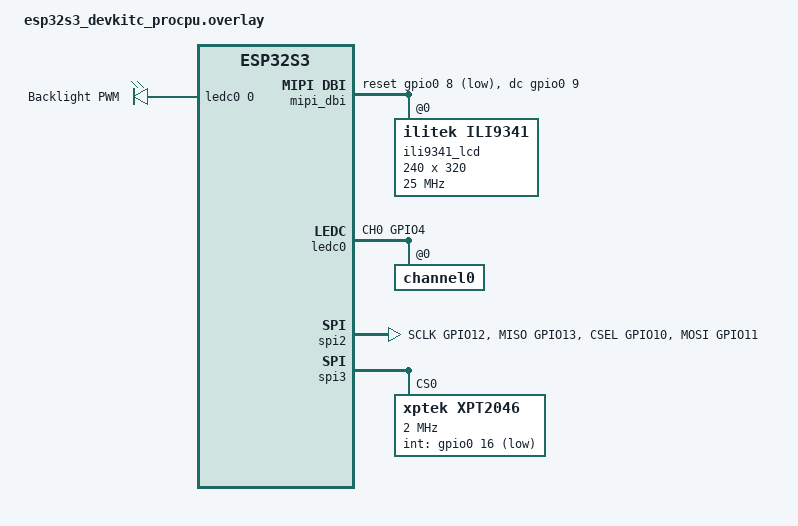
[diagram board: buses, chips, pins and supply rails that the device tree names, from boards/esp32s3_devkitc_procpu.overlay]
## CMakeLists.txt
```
cmake_minimum_required(VERSION 3.20.0)

set(CODECHECKER_ANALYZE_OPTS
    "--config;${CMAKE_SOURCE_DIR}/codechecker/codechecker.yml;"
    "--skip;${CMAKE_SOURCE_DIR}/codechecker/skip.codechecker"
    CACHE STRING "Code checker options")

# Find and load the Zephyr build system package
find_package(Zephyr REQUIRED HINTS $ENV{ZEPHYR_BASE})

# Define your project name
project(open_tempo)

# Target the application source code files
target_sources(app PRIVATE
    src/main.cpp
    src/GuiClock.cpp
    src/Threads.cpp
    
    src/Gui/GuiThread.cpp

    # Generated
    src/Gui/Generated/lv_font_roboto_mono_30.c
    src/Gui/Assets/HappyBirthday.c
)
```

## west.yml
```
manifest:
  self:
    path: opentempo

  remotes:
    - name: zephyrproject-rtos
      url-base: https://github.com/zephyrproject-rtos

  projects:
    - name: zephyr
      remote: zephyrproject-rtos
      revision: main
      import:
        name-allowlist:
          - cmsis_6
          - hal_espressif
          - lvgl
          - hal_espressif
```

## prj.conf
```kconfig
CONFIG_CPP=y
CONFIG_STD_CPP23=y
CONFIG_CPP_EXCEPTIONS=y
CONFIG_REQUIRES_FULL_LIBCPP=y

CONFIG_MAIN_STACK_SIZE=8192

# --- Multi-core Support ---
CONFIG_SMP=n
CONFIG_MP_MAX_NUM_CPUS=2
CONFIG_DCACHE=n

# --- Display Framework ---
CONFIG_DISPLAY=y
CONFIG_ILI9341=y

# --- Display Input Support ---
CONFIG_INPUT=y
CONFIG_INPUT_XPT2046=y

# --- Modern Zephyr LVGL Core Initialization ---
CONFIG_LVGL=y
CONFIG_LV_USE_ILI9341=y
CONFIG_LV_COLOR_DEPTH_16=y
CONFIG_LV_Z_VDB_SIZE=20
CONFIG_LV_Z_MEM_POOL_SIZE=32768
CONFIG_LV_FONT_MONTSERRAT_24=y
CONFIG_LV_Z_DOUBLE_VDB=y
CONFIG_LV_USE_LOG=y
# CONFIG_LV_COLOR_16_SWAP=y

# --- Hardware System Specs ---
CONFIG_LOG=y
CONFIG_DMA=y
CONFIG_SPI=y
CONFIG_PWM=y
```

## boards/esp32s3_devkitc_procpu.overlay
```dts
#include <zephyr/dt-bindings/pinctrl/esp32s3-pinctrl.h>
#include <zephyr/dt-bindings/mipi_dbi/mipi_dbi.h>
#include <zephyr/dt-bindings/pwm/pwm.h>

/ {
    chosen {
        // Tells Zephyr's display sub-system (and graphics engines like LVGL) to target this screen
        zephyr,display = &ili9341_lcd;
        zephyr,touch = &xpt2046;
    };

    aliases {
        backlight-pwm = &backlight_pwm_pin;
    };

    // Virtual MIPI-DBI bus required by modern Zephyr display drivers
    mipi_dbi {
        compatible = "zephyr,mipi-dbi-spi";
        spi-dev = <&spi2>;
        write-only;
        #address-cells = <1>;
        #size-cells = <0>;

        // Hardware control pins managed directly by the MIPI-DBI wrapper
        dc-gpios = <&gpio0 9 GPIO_ACTIVE_HIGH>;    /* D/C (Data/Command) Pin */
        reset-gpios = <&gpio0 8 GPIO_ACTIVE_LOW>;  /* RST (Reset) Pin */

        ili9341_lcd: ili9341@0 {
            compatible = "ilitek,ili9341";
            mipi-max-frequency = <25000000>;
            reg = <0>;
            pixel-format = <1>;
            rotation = <90>;
            h-mirror;
            width = <240>;
            height = <320>;
            red-blue-swap;
            status = "okay";
        };
    };

    backlight_pwm: backlight_pwm {
        compatible = "pwm-leds";
        backlight_pwm_pin: pwm_led_0 {
            pwms = <&ledc0 0 50000 PWM_POLARITY_NORMAL>;
            label = "Backlight PWM";
        };
    };

    lvgl_pointer {
        compatible = "zephyr,lvgl-pointer-input";
        input = <&xpt2046>;
    };
};

&pinctrl {
    ledc0_default: ledc0_default {
        group1 {
            pinmux = <LEDC_CH0_GPIO4>;
            output-enable;
        };
    };
};

&ledc0 {
    pinctrl-0 = <&ledc0_default>;
    pinctrl-names = "default";
    status = "okay";
    #address-cells = <1>;
    #size-cells = <0>;

    /* Allocate hardware timer resources for channel 0 */
    channel0@0 {
        reg = <0x0>;
        timer = <0>;
    };
};

&dma {
    status = "okay";
};

&pinctrl {
    spi2_custom: spi2_custom {
        group1 {
            pinmux = <SPIM2_SCLK_GPIO12>,
                     <SPIM2_MISO_GPIO13>,
                     <SPIM2_CSEL_GPIO10>;
        };
        group2 {
            pinmux = <SPIM2_MOSI_GPIO11>;
            output-low;
        };
    };
};

&spi2 {
    status = "okay";
    pinctrl-0 = <&spi2_custom>;
    pinctrl-names = "default";
    dmas = <&dma 0>, <&dma 1>;
    dma-names = "tx", "rx";
};

&spi3 {
    status = "okay";
    pinctrl-0 = <&spim3_default>;
    pinctrl-names = "default";

	xpt2046: xpt2046@0 {
		compatible = "xptek,xpt2046";
		reg = <0>;
		spi-max-frequency = <2000000>;

		/* Interrupt pin (PENIRQ) - active low, pulled up (example: GPIO 9) */
		int-gpios = <&gpio0 16 (GPIO_ACTIVE_LOW | GPIO_PULL_UP)>;

		/* Required screen dimensions & raw ADC calibration bounds */
		touchscreen-size-x = <240>;
		touchscreen-size-y = <320>;
		min-x = <300>;
		min-y = <300>;
		max-x = <3900>;
		max-y = <3900>;
		z-threshold = <100>;
		reads = <3>;
	};
};
```

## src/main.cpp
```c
#include <zephyr/kernel.h>
#include <zephyr/sys/printk.h>

int main(void)
{
    printk("Main system initialized on Core %d\n", arch_curr_cpu()->id);

    while (true)
    {
        k_msleep(1000);
    }
    return 0;
}
```

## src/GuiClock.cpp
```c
#include <cstdint>

#include "GuiClock.hpp"

namespace gui
{
    GuiClock::GuiClock()
    {
        k_timer_init(&clockTimer, Callback, nullptr);
        k_timer_user_data_set(&clockTimer, this);
        k_timer_start(&clockTimer, K_SECONDS(1), K_SECONDS(1));
    }

    void GuiClock::SyncTime(uint32_t hours, uint32_t minutes, uint32_t seconds)
    {
        this->hours = hours;
        this->minutes = minutes;
        this->seconds = seconds;
    }

    void GuiClock::Callback(k_timer *timer)
    {
        GuiClock *instance = static_cast<GuiClock *>(k_timer_user_data_get(timer));

        instance->seconds++;

        if (instance->seconds >= 60)
        {
            instance->seconds = 0;
            instance->minutes++;
        }

        if (instance->minutes >= 60)
        {
            instance->minutes = 0;
            instance->hours++;
        }

        if (instance->hours >= 24)
        {
            instance->hours = 0;
        }
    }
} // namespace gui
```

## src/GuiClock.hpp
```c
#pragma once

#include <format>
#include <zephyr/kernel.h>
namespace gui
{
    class GuiClock
    {
      public:
        GuiClock();

        void SyncTime(uint32_t hours, uint32_t minutes, uint32_t seconds);

        std::string GetFormatetTime() const
        {
            return std::format("{:02}:{:02}:{:02}", hours, minutes, seconds);
        }

      private:
        k_timer clockTimer;
        uint32_t seconds = 0;
        uint32_t minutes = 0;
        uint32_t hours = 0;

        static void Callback(k_timer *timer);
    };
} // namespace gui
```

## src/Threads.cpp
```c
#include <zephyr/device.h>
#include <zephyr/input/input.h>
#include <zephyr/kernel.h>

#include "Gui/GuiThread.hpp"

#define GUI_THREAD_STACK_SIZE 4096
#define CLOCK_THREAD_STACK_SIZE 4096

void GuiThreadEntry(void * /*unused*/, void * /*unused*/, void * /*unused*/)
{
    static gui::GuiThread guiThread;
    INPUT_CALLBACK_DEFINE_NAMED(DEVICE_DT_GET(DT_NODELABEL(xpt2046)),
                                gui::GuiThread::TouchEventCallback, &guiThread, touch_event);
    guiThread.GuiThreadEntry();
}

K_THREAD_DEFINE(GuiThread, GUI_THREAD_STACK_SIZE, GuiThreadEntry, NULL, NULL, NULL, 0, 0, 0);
```
